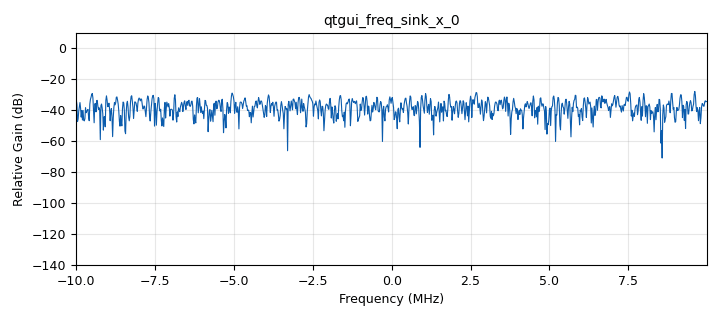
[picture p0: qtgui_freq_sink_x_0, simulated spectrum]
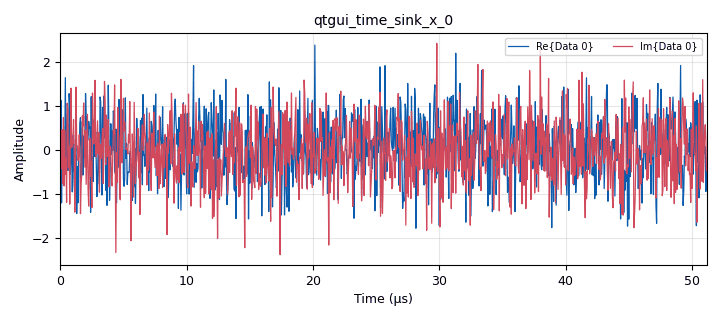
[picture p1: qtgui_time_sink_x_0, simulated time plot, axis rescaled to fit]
options:
  parameters:
    author: Lakshya
    generate_options: qt_gui
    id: default
    output_language: python
    title: Not titled yet
  states: {}

blocks:
- name: samp_rate
  id: variable
  parameters:
    value: '20000000'
  states: {}
- name: analog_noise_source_x_0
  id: analog_noise_source_x
  parameters:
    amp: '0.5'
    noise_type: analog.GR_GAUSSIAN
    seed: '0'
    type: complex
  states: {}
- name: blocks_multiply_const_vxx_0
  id: blocks_multiply_const_vxx
  parameters:
    const: '2'
    type: complex
  states: {}
- name: blocks_throttle_0
  id: blocks_throttle
  parameters:
    samples_per_second: samp_rate
    type: complex
  states: {}
- name: freq_xlating_fir_filter_xxx_0
  id: freq_xlating_fir_filter_xxx
  parameters:
    center_freq: '0'
    decim: '1'
    samp_rate: samp_rate
    taps: '1'
    type: ccc
  states: {}
- name: low_pass_filter_0
  id: low_pass_filter
  parameters:
    cutoff_freq: 10e6
    decim: '1'
    gain: '1'
    samp_rate: samp_rate
    type: fir_filter_ccf
    width: 2e6
    win: window.WIN_HAMMING
  states: {}
- name: qtgui_freq_sink_x_0
  id: qtgui_freq_sink_x
  parameters:
    bw: samp_rate
    fc: '0'
    fftsize: '1024'
    type: complex
  states: {}
- name: qtgui_time_sink_x_0
  id: qtgui_time_sink_x
  parameters:
    size: '1024'
    srate: samp_rate
    type: complex
  states: {}

connections:
- [analog_noise_source_x_0, '0', blocks_throttle_0, '0']
- [blocks_multiply_const_vxx_0, '0', low_pass_filter_0, '0']
- [blocks_throttle_0, '0', blocks_multiply_const_vxx_0, '0']
- [freq_xlating_fir_filter_xxx_0, '0', qtgui_freq_sink_x_0, '0']
- [freq_xlating_fir_filter_xxx_0, '0', qtgui_time_sink_x_0, '0']
- [low_pass_filter_0, '0', freq_xlating_fir_filter_xxx_0, '0']

metadata:
  file_format: 1
